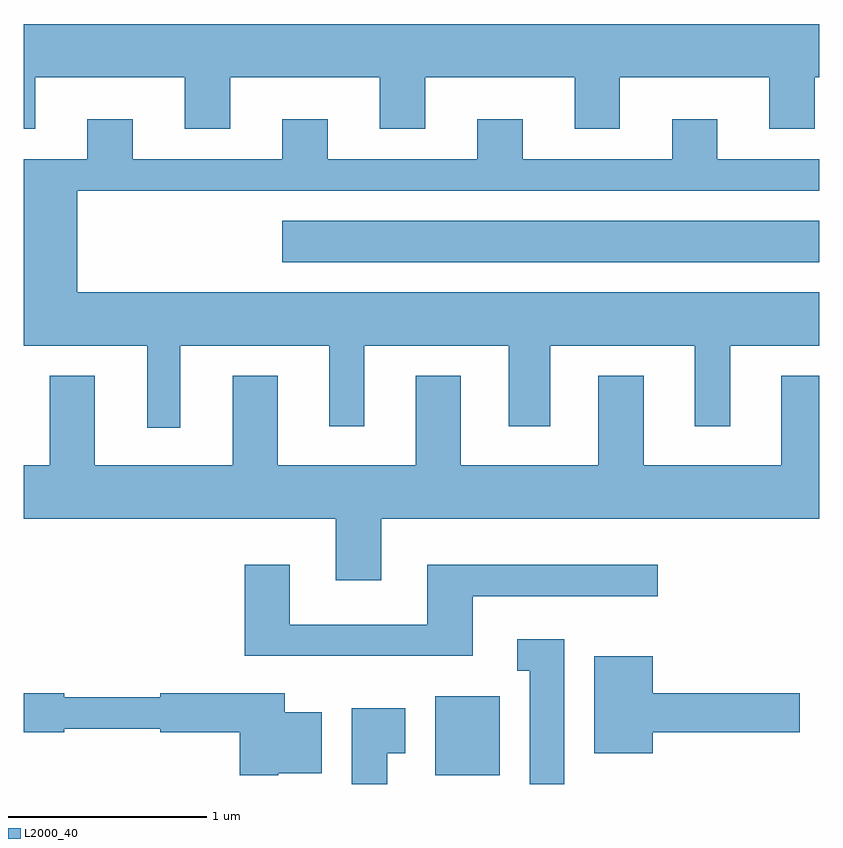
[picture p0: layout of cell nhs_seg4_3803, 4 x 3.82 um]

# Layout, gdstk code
import gdstk
lib = gdstk.Library(unit=1e-6, precision=1e-09)
def R(c, l, rs):  # rectangles x0, y0, x1, y1
    for r in rs: c.add(gdstk.rectangle(r[:2], r[2:], *l))
def P(c, l, *ps):  # polygons
    for p in ps: c.add(gdstk.Polygon(p, *l))
L2000_40 = (2000, 40)

nhs_seg4_3803 = lib.new_cell('nhs_seg4_3803')
R(nhs_seg4_3803, L2000_40, [(297.681,1380.026,298.004,1380.424), (296.911,1382.606,299.611,1382.814)])
P(nhs_seg4_3803, L2000_40, [(295.669,1383.536),(296.421,1383.536),(296.421,1383.276),(296.649,1383.276),(296.649,1383.536),(297.401,1383.536),(297.401,1383.276),(297.629,1383.276),(297.629,1383.536),(298.381,1383.536),(298.381,1383.276),(298.609,1383.276),(298.609,1383.536),(299.361,1383.536),(299.361,1383.276),(299.589,1383.276),(299.589,1383.536),(299.611,1383.536),(299.611,1383.804),(295.611,1383.804),(295.611,1383.276),(295.669,1383.276)],
  [(296.399,1382.186),(297.146,1382.186),(297.146,1381.781),(297.324,1381.781),(297.324,1382.186),(298.051,1382.186),(298.051,1381.781),(298.259,1381.781),(298.259,1382.186),(298.986,1382.186),(298.986,1381.781),(299.164,1381.781),(299.164,1382.186),(299.611,1382.186),(299.611,1382.454),(295.879,1382.454),(295.879,1382.966),(299.611,1382.966),(299.611,1383.124),(299.099,1383.124),(299.099,1383.324),(298.871,1383.324),(298.871,1383.124),(298.119,1383.124),(298.119,1383.324),(297.891,1383.324),(297.891,1383.124),(297.139,1383.124),(297.139,1383.324),(296.911,1383.324),(296.911,1383.124),(296.159,1383.124),(296.159,1383.324),(295.931,1383.324),(295.931,1383.124),(295.611,1383.124),(295.611,1382.186),(296.231,1382.186),(296.231,1381.773),(296.399,1381.773)],
  [(297.409,1381.316),(299.611,1381.316),(299.611,1382.034),(299.421,1382.034),(299.421,1381.584),(298.729,1381.584),(298.729,1382.034),(298.501,1382.034),(298.501,1381.584),(297.809,1381.584),(297.809,1382.034),(297.581,1382.034),(297.581,1381.584),(296.889,1381.584),(296.889,1382.034),(296.661,1382.034),(296.661,1381.584),(295.969,1381.584),(295.969,1382.034),(295.741,1382.034),(295.741,1381.584),(295.611,1381.584),(295.611,1381.316),(297.181,1381.316),(297.181,1381.006),(297.409,1381.006)],
  [(297.869,1380.926),(298.798,1380.926),(298.798,1381.084),(297.641,1381.084),(297.641,1380.784),(296.949,1380.784),(296.949,1381.084),(296.721,1381.084),(296.721,1380.626),(297.869,1380.626)],
  [(298.329,1380.709),(298.093,1380.709),(298.093,1380.551),(298.156,1380.551),(298.156,1379.982),(298.329,1379.982)],
  [(298.774,1380.241),(299.514,1380.241),(299.514,1380.439),(298.774,1380.439),(298.774,1380.624),(298.481,1380.624),(298.481,1380.136),(298.774,1380.136)],
  [(296.89,1380.036),(297.109,1380.036),(297.109,1380.344),(296.924,1380.344),(296.924,1380.439),(296.296,1380.439),(296.296,1380.419),(295.814,1380.419),(295.814,1380.439),(295.611,1380.439),(295.611,1380.241),(295.814,1380.241),(295.814,1380.261),(296.296,1380.261),(296.296,1380.241),(296.696,1380.241),(296.696,1380.026),(296.89,1380.026)],
  [(297.439,1380.136),(297.529,1380.136),(297.529,1380.364),(297.261,1380.364),(297.261,1379.982),(297.439,1379.982)])

lib.write_gds('nhs_seg4_3803.gds')
